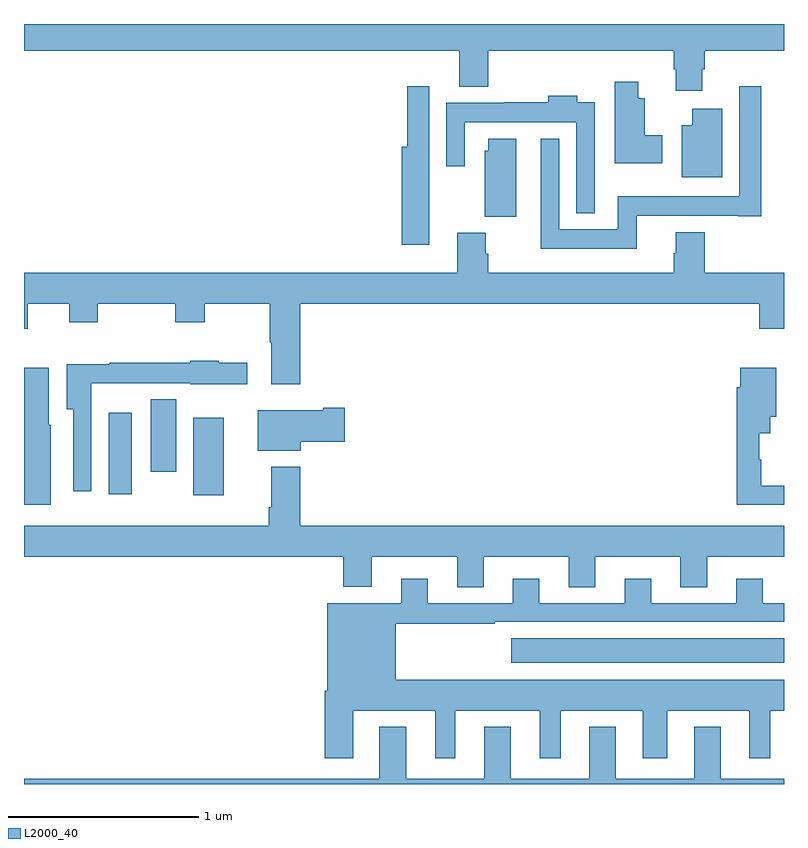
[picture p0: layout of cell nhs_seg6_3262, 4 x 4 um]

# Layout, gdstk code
import gdstk
lib = gdstk.Library(unit=1e-6, precision=1e-09)
def R(c, l, rs):  # rectangles x0, y0, x1, y1
    for r in rs: c.add(gdstk.rectangle(r[:2], r[2:], *l))
def P(c, l, *ps):  # polygons
    for p in ps: c.add(gdstk.Polygon(p, *l))
L2000_40 = (2000, 40)

nhs_seg6_3262 = lib.new_cell('nhs_seg6_3262')
R(nhs_seg6_3262, L2000_40, [(305.565,920.138,307,920.266), (303.89,921.021,304.051,921.427), (303.446,921.024,303.568,921.454), (303.668,921.144,303.802,921.524)])
P(nhs_seg6_3262, L2000_40, [(306.571,923.262),(306.584,923.262),(306.584,923.36),(307,923.36),(307,923.5),(303,923.5),(303,923.36),(305.291,923.36),(305.291,923.171),(305.444,923.171),(305.444,923.36),(306.419,923.36),(306.419,923.262),(306.431,923.262),(306.431,923.148),(306.571,923.148)],
  [(306.358,922.914),(306.268,922.914),(306.268,923.11),(306.232,923.11),(306.232,923.197),(306.11,923.197),(306.11,922.766),(306.358,922.766)],
  [(306.224,922.49),(306.758,922.49),(306.758,922.488),(306.881,922.488),(306.881,923.173),(306.765,923.173),(306.765,922.594),(306.126,922.594),(306.126,922.42),(305.817,922.42),(305.817,922.897),(305.72,922.897),(305.72,922.316),(306.224,922.316)],
  [(305.134,922.751),(305.133,922.751),(305.133,923.173),(305.017,923.173),(305.017,922.855),(304.988,922.855),(304.988,922.338),(305.134,922.338)],
  [(306.003,923.089),(305.911,923.089),(305.911,923.122),(305.759,923.122),(305.759,923.089),(305.527,923.089),(305.527,923.086),(305.223,923.086),(305.223,922.752),(305.319,922.752),(305.319,922.982),(305.907,922.982),(305.907,922.505),(306.003,922.505)],
  [(306.676,923.053),(306.518,923.053),(306.518,922.966),(306.461,922.966),(306.461,922.694),(306.676,922.694)],
  [(305.59,922.897),(305.444,922.897),(305.444,922.833),(305.426,922.833),(305.426,922.486),(305.59,922.486)],
  [(304.454,922.028),(306.869,922.028),(306.869,921.897),(307,921.897),(307,922.192),(306.584,922.192),(306.584,922.405),(306.431,922.405),(306.431,922.293),(306.419,922.293),(306.419,922.192),(305.444,922.192),(305.444,922.292),(305.431,922.292),(305.431,922.401),(305.279,922.401),(305.279,922.192),(303,922.192),(303,921.897),(303.019,921.897),(303.019,922.028),(303.239,922.028),(303.239,921.929),(303.387,921.929),(303.387,922.028),(303.796,922.028),(303.796,921.929),(303.951,921.929),(303.951,922.028),(304.294,922.028),(304.294,921.824),(304.301,921.824),(304.301,921.603),(304.454,921.603)],
  [(303.354,921.608),(303.564,921.608),(303.564,921.609),(303.876,921.609),(303.876,921.605),(304.174,921.605),(304.174,921.718),(304.026,921.718),(304.026,921.727),(303.876,921.727),(303.876,921.718),(303.451,921.718),(303.451,921.708),(303.224,921.708),(303.224,921.473),(303.258,921.473),(303.258,921.042),(303.354,921.042)],
  [(307,921.071),(306.88,921.071),(306.88,921.207),(306.869,921.207),(306.869,921.347),(306.928,921.347),(306.928,921.434),(306.958,921.434),(306.958,921.691),(306.77,921.691),(306.77,921.587),(306.751,921.587),(306.751,920.97),(307,920.97)],
  [(303.142,921.39),(303.13,921.39),(303.13,921.691),(303,921.691),(303,920.97),(303.142,920.97)],
  [(304.456,921.301),(304.687,921.301),(304.687,921.479),(304.574,921.479),(304.574,921.466),(304.229,921.466),(304.229,921.254),(304.456,921.254)],
  [(305.419,920.696),(305.867,920.696),(305.867,920.536),(306.007,920.536),(306.007,920.696),(306.455,920.696),(306.455,920.536),(306.595,920.536),(306.595,920.696),(307,920.696),(307,920.86),(304.454,920.86),(304.454,921.169),(304.301,921.169),(304.301,920.956),(304.289,920.956),(304.289,920.86),(303,920.86),(303,920.696),(304.679,920.696),(304.679,920.537),(304.831,920.537),(304.831,920.696),(305.279,920.696),(305.279,920.536),(305.419,920.536)],
  [(304.732,919.886),(305.165,919.886),(305.165,919.635),(305.269,919.635),(305.269,919.886),(305.714,919.886),(305.714,919.635),(305.824,919.635),(305.824,919.886),(306.257,919.886),(306.257,919.635),(306.385,919.635),(306.385,919.886),(306.818,919.886),(306.818,919.635),(306.928,919.635),(306.928,919.886),(307,919.886),(307,920.05),(304.957,920.05),(304.957,920.343),(305.477,920.343),(305.477,920.355),(307,920.355),(307,920.451),(306.889,920.451),(306.889,920.581),(306.749,920.581),(306.749,920.451),(306.301,920.451),(306.301,920.581),(306.161,920.581),(306.161,920.451),(305.713,920.451),(305.713,920.581),(305.573,920.581),(305.573,920.451),(305.125,920.451),(305.125,920.581),(304.985,920.581),(304.985,920.452),(304.595,920.452),(304.595,919.99),(304.583,919.99),(304.583,919.635),(304.732,919.635)],
  [(307,919.528),(306.667,919.528),(306.667,919.801),(306.527,919.801),(306.527,919.528),(306.115,919.528),(306.115,919.801),(305.975,919.801),(305.975,919.528),(305.563,919.528),(305.563,919.801),(305.423,919.801),(305.423,919.528),(305.011,919.528),(305.011,919.801),(304.871,919.801),(304.871,919.528),(303,919.528),(303,919.5),(307,919.5)])

lib.write_gds('nhs_seg6_3262.gds')
